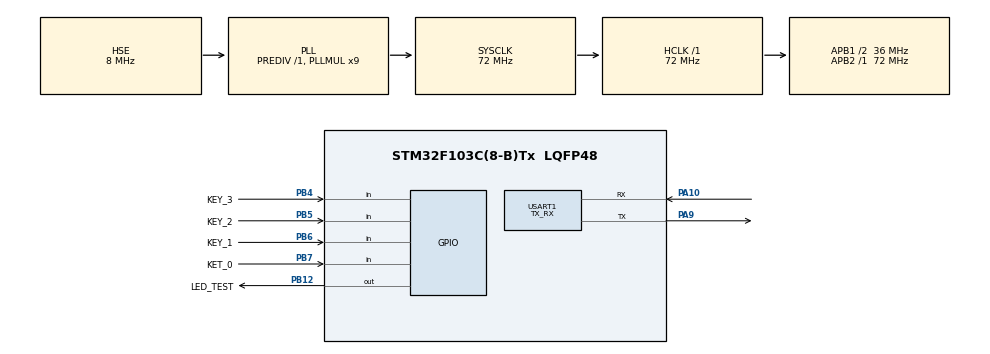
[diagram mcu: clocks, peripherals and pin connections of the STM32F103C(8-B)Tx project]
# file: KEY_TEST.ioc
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Mcu.Family=STM32F1
Mcu.Name=STM32F103C(8-B)Tx
Mcu.Package=LQFP48
NVIC.PriorityGroup=NVIC_PRIORITYGROUP_4
NVIC.TIM1_UP_IRQn=true\:0\:0\:false\:false\:true\:true\:true
NVIC.TIM2_IRQn=true\:0\:0\:false\:false\:true\:true\:true
PA10.Mode=Asynchronous
PA10.Signal=USART1_RX
PA13.Mode=Serial_Wire
PA13.Signal=SYS_JTMS-SWDIO
PA14.Mode=Serial_Wire
PA14.Signal=SYS_JTCK-SWCLK
PA9.Mode=Asynchronous
PA9.Signal=USART1_TX
PB12.GPIO_Label=LED_TEST
PB12.GPIO_PuPd=GPIO_PULLUP
PB12.Signal=GPIO_Output
PB4.GPIO_Label=KEY_3
PB4.GPIO_PuPd=GPIO_PULLUP
PB4.Signal=GPIO_Input
PB5.GPIO_Label=KEY_2
PB5.GPIO_PuPd=GPIO_PULLUP
PB5.Signal=GPIO_Input
PB6.GPIO_Label=KEY_1
PB6.GPIO_PuPd=GPIO_PULLUP
PB6.Signal=GPIO_Input
PB7.GPIO_Label=KET_0
PB7.GPIO_PuPd=GPIO_PULLUP
PB7.Signal=GPIO_Input
PD0-OSC_IN.Mode=HSE-External-Oscillator
PD0-OSC_IN.Signal=RCC_OSC_IN
PD1-OSC_OUT.Mode=HSE-External-Oscillator
PD1-OSC_OUT.Signal=RCC_OSC_OUT
ProjectManager.HeapSize=0x200
ProjectManager.StackSize=0x400
ProjectManager.TargetToolchain=STM32CubeIDE
RCC.AHBFreq_Value=72000000
RCC.APB1CLKDivider=RCC_HCLK_DIV2
RCC.APB1Freq_Value=36000000
RCC.APB1TimFreq_Value=72000000
RCC.APB2Freq_Value=72000000
RCC.APB2TimFreq_Value=72000000
RCC.HCLKFreq_Value=72000000
RCC.PLLMUL=RCC_PLL_MUL9
RCC.PLLSourceVirtual=RCC_PLLSOURCE_HSE
RCC.SYSCLKFreq_VALUE=72000000
RCC.SYSCLKSource=RCC_SYSCLKSOURCE_PLLCLK
RCC.USBFreq_Value=72000000
TIM1.Period=1000-1
TIM1.Prescaler=72-1
TIM2.AutoReloadPreload=TIM_AUTORELOAD_PRELOAD_DISABLE
TIM2.Period=2000-1
TIM2.Prescaler=72-1
USART1.Mode=MODE_TX_RX
USART1.VirtualMode=VM_ASYNC
VP_TIM1_VS_ClockSourceINT.Mode=Internal
VP_TIM2_VS_ClockSourceINT.Mode=Internal
board=custom

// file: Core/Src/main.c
/* USER CODE BEGIN Header */
/**
  ******************************************************************************
  * @file           : main.c
  * @brief          : Main program body
  ******************************************************************************
  * @attention
  *
  * <h2><center>&copy; Copyright (c) 2020 STMicroelectronics.
  * All rights reserved.</center></h2>
  *
  * This software component is licensed by ST under BSD 3-Clause license,
  * the "License"; You may not use this file except in compliance with the
  * License. You may obtain a copy of the License at:
  *                        opensource.org/licenses/BSD-3-Clause
  *
  ******************************************************************************
  */
/* USER CODE END Header */

#include "main.h"

/* USER CODE BEGIN Includes */
#include "key_function.h"
/* USER CODE END Includes */

TIM_HandleTypeDef htim1;
TIM_HandleTypeDef htim2;

UART_HandleTypeDef huart1;

void SystemClock_Config(void);
static void MX_GPIO_Init(void);
static void MX_TIM1_Init(void);
static void MX_TIM2_Init(void);
static void MX_USART1_UART_Init(void);

int main(void)
{

  /* MCU Configuration--------------------------------------------------------*/

  /* Reset of all peripherals, Initializes the Flash interface and the Systick. */
  HAL_Init();

  /* Configure the system clock */
  SystemClock_Config();

  /* Initialize all configured peripherals */
  MX_GPIO_Init();
  MX_TIM1_Init();
  MX_TIM2_Init();
  MX_USART1_UART_Init();
  /* USER CODE BEGIN 2 */
  HAL_TIM_Base_Start_IT(&htim1);
  HAL_TIM_Base_Start_IT(&htim2);
  /* USER CODE END 2 */

  /* Infinite loop */
  /* USER CODE BEGIN WHILE */
  while (1)
  {
	  static uint8_t i;
	  i++;
	  if(i>3){
	  i=0;
	  }

	  if(key[i].event==1){
		  HAL_GPIO_TogglePin(LED_TEST_GPIO_Port,LED_TEST_Pin);
		  HAL_UART_Transmit(&huart1,(uint8_t*)"1", 2,100);
		  key[i].event=0;
	  }
	  if(key[i].event==2){
		  HAL_UART_Transmit(&huart1,(uint8_t*)"2", 2,100);
		  key[i].event=0;
	  }
	  if(key[i].event==3){
		  HAL_UART_Transmit(&huart1,(uint8_t*)"3", 2,100);
		  key[i].event=0;
	  }
	  if(key[i].event==4){
		  HAL_UART_Transmit(&huart1,(uint8_t*)"4", 2,100);
		  key[i].event=0;
	  }

	  if(key[i].event==5){
		  HAL_UART_Transmit(&huart1,(uint8_t*)"5", 2,100);
		  key[i].event=0;
	  }

	 // HAL_GPIO_TogglePin(LED_TEST_GPIO_Port,LED_TEST_Pin);
	 // HAL_Delay(500);

    /* USER CODE END WHILE */

  }
}

void SystemClock_Config(void)
{
  RCC_OscInitTypeDef RCC_OscInitStruct = {0};
  RCC_ClkInitTypeDef RCC_ClkInitStruct = {0};

  /** Initializes the CPU, AHB and APB busses clocks
  */
  RCC_OscInitStruct.OscillatorType = RCC_OSCILLATORTYPE_HSE;
  RCC_OscInitStruct.HSEState = RCC_HSE_ON;
  RCC_OscInitStruct.HSEPredivValue = RCC_HSE_PREDIV_DIV1;
  RCC_OscInitStruct.HSIState = RCC_HSI_ON;
  RCC_OscInitStruct.PLL.PLLState = RCC_PLL_ON;
  RCC_OscInitStruct.PLL.PLLSource = RCC_PLLSOURCE_HSE;
  RCC_OscInitStruct.PLL.PLLMUL = RCC_PLL_MUL9;
  if (HAL_RCC_OscConfig(&RCC_OscInitStruct) != HAL_OK)
  {
    Error_Handler();
  }
  /** Initializes the CPU, AHB and APB busses clocks
  */
  RCC_ClkInitStruct.ClockType = RCC_CLOCKTYPE_HCLK|RCC_CLOCKTYPE_SYSCLK
                              |RCC_CLOCKTYPE_PCLK1|RCC_CLOCKTYPE_PCLK2;
  RCC_ClkInitStruct.SYSCLKSource = RCC_SYSCLKSOURCE_PLLCLK;
  RCC_ClkInitStruct.AHBCLKDivider = RCC_SYSCLK_DIV1;
  RCC_ClkInitStruct.APB1CLKDivider = RCC_HCLK_DIV2;
  RCC_ClkInitStruct.APB2CLKDivider = RCC_HCLK_DIV1;

  if (HAL_RCC_ClockConfig(&RCC_ClkInitStruct, FLASH_LATENCY_2) != HAL_OK)
  {
    Error_Handler();
  }
}

static void MX_TIM1_Init(void)
{

  TIM_ClockConfigTypeDef sClockSourceConfig = {0};
  TIM_MasterConfigTypeDef sMasterConfig = {0};

  htim1.Instance = TIM1;
  htim1.Init.Prescaler = 72-1;
  htim1.Init.CounterMode = TIM_COUNTERMODE_UP;
  htim1.Init.Period = 1000-1;
  htim1.Init.ClockDivision = TIM_CLOCKDIVISION_DIV1;
  htim1.Init.RepetitionCounter = 0;
  htim1.Init.AutoReloadPreload = TIM_AUTORELOAD_PRELOAD_DISABLE;
  if (HAL_TIM_Base_Init(&htim1) != HAL_OK)
  {
    Error_Handler();
  }
  sClockSourceConfig.ClockSource = TIM_CLOCKSOURCE_INTERNAL;
  if (HAL_TIM_ConfigClockSource(&htim1, &sClockSourceConfig) != HAL_OK)
  {
    Error_Handler();
  }
  sMasterConfig.MasterOutputTrigger = TIM_TRGO_RESET;
  sMasterConfig.MasterSlaveMode = TIM_MASTERSLAVEMODE_DISABLE;
  if (HAL_TIMEx_MasterConfigSynchronization(&htim1, &sMasterConfig) != HAL_OK)
  {
    Error_Handler();
  }

}

static void MX_TIM2_Init(void)
{

  TIM_ClockConfigTypeDef sClockSourceConfig = {0};
  TIM_MasterConfigTypeDef sMasterConfig = {0};

  htim2.Instance = TIM2;
  htim2.Init.Prescaler = 72-1;
  htim2.Init.CounterMode = TIM_COUNTERMODE_UP;
  htim2.Init.Period = 2000-1;
  htim2.Init.ClockDivision = TIM_CLOCKDIVISION_DIV1;
  htim2.Init.AutoReloadPreload = TIM_AUTORELOAD_PRELOAD_DISABLE;
  if (HAL_TIM_Base_Init(&htim2) != HAL_OK)
  {
    Error_Handler();
  }
  sClockSourceConfig.ClockSource = TIM_CLOCKSOURCE_INTERNAL;
  if (HAL_TIM_ConfigClockSource(&htim2, &sClockSourceConfig) != HAL_OK)
  {
    Error_Handler();
  }
  sMasterConfig.MasterOutputTrigger = TIM_TRGO_RESET;
  sMasterConfig.MasterSlaveMode = TIM_MASTERSLAVEMODE_DISABLE;
  if (HAL_TIMEx_MasterConfigSynchronization(&htim2, &sMasterConfig) != HAL_OK)
  {
    Error_Handler();
  }

}

static void MX_USART1_UART_Init(void)
{

  huart1.Instance = USART1;
  huart1.Init.BaudRate = 115200;
  huart1.Init.WordLength = UART_WORDLENGTH_8B;
  huart1.Init.StopBits = UART_STOPBITS_1;
  huart1.Init.Parity = UART_PARITY_NONE;
  huart1.Init.Mode = UART_MODE_TX_RX;
  huart1.Init.HwFlowCtl = UART_HWCONTROL_NONE;
  huart1.Init.OverSampling = UART_OVERSAMPLING_16;
  if (HAL_UART_Init(&huart1) != HAL_OK)
  {
    Error_Handler();
  }

}

static void MX_GPIO_Init(void)
{
  GPIO_InitTypeDef GPIO_InitStruct = {0};

  /* GPIO Ports Clock Enable */
  __HAL_RCC_GPIOD_CLK_ENABLE();
  __HAL_RCC_GPIOB_CLK_ENABLE();
  __HAL_RCC_GPIOA_CLK_ENABLE();

  /*Configure GPIO pin Output Level */
  HAL_GPIO_WritePin(LED_TEST_GPIO_Port, LED_TEST_Pin, GPIO_PIN_RESET);

  /*Configure GPIO pin : LED_TEST_Pin */
  GPIO_InitStruct.Pin = LED_TEST_Pin;
  GPIO_InitStruct.Mode = GPIO_MODE_OUTPUT_PP;
  GPIO_InitStruct.Pull = GPIO_PULLUP;
  GPIO_InitStruct.Speed = GPIO_SPEED_FREQ_LOW;
  HAL_GPIO_Init(LED_TEST_GPIO_Port, &GPIO_InitStruct);

  /*Configure GPIO pins : KEY_3_Pin KEY_2_Pin KEY_1_Pin KET_0_Pin */
  GPIO_InitStruct.Pin = KEY_3_Pin|KEY_2_Pin|KEY_1_Pin|KET_0_Pin;
  GPIO_InitStruct.Mode = GPIO_MODE_INPUT;
  GPIO_InitStruct.Pull = GPIO_PULLUP;
  HAL_GPIO_Init(GPIOB, &GPIO_InitStruct);

}

/* USER CODE BEGIN 4 */
void HAL_TIM_PeriodElapsedCallback(TIM_HandleTypeDef *htim)
{
	//static uint16_t i;
	if(htim->Instance==htim1.Instance){
		Key_EdgeJudge();
		Get_Key_Time_Value();
	 	//HAL_GPIO_TogglePin(LED_TEST_GPIO_Port,LED_TEST_Pin);
	}
	if(htim->Instance==htim2.Instance){

	}
}
/* USER CODE END 4 */

void Error_Handler(void)
{
}

/************************ (C) COPYRIGHT STMicroelectronics *****END OF FILE****/
